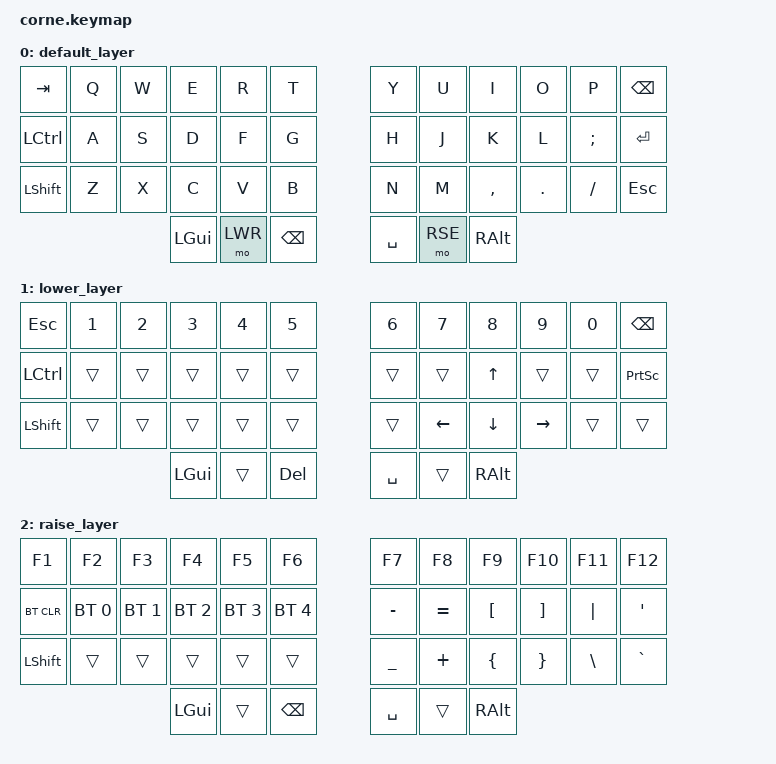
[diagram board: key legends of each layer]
/*
 * Copyright (c) 2020 The ZMK Contributors
 *
 * SPDX-License-Identifier: MIT
 */

#include <behaviors.dtsi>
#include <dt-bindings/zmk/keys.h>
#include <dt-bindings/zmk/bt.h>

#define DEF 0
#define LWR 1
#define RSE 2

/ {
        keymap {
                compatible = "zmk,keymap";

                default_layer {
// -----------------------------------------------------------------------------------------
// |  TAB |  Q  |  W  |  E  |  R  |  T  |   |  Y  |  U   |  I  |  O  |  P  | BKSP |
// | CTRL |  A  |  S  |  D  |  F  |  G  |   |  H  |  J   |  K  |  L  |  ;  |  '   |
// | SHFT |  Z  |  X  |  C  |  V  |  B  |   |  N  |  M   |  ,  |  .  |  /  | ESC  |
//                    | GUI | LWR | SPC |   | ENT | RSE  | ALT |
                        bindings = <
   &kp TAB    &kp Q  &kp W  &kp E     &kp R    &kp T        &kp Y      &kp U    &kp I      &kp O   &kp  P     &kp BSPC
   &kp LCTRL  &kp A  &kp S  &kp D     &kp F    &kp G        &kp H      &kp J    &kp K      &kp L   &kp  SEMI  &kp RET
   &kp LSHFT  &kp Z  &kp X  &kp C     &kp V    &kp B        &kp N      &kp M    &kp COMMA  &kp DOT &kp  FSLH  &kp ESC
                            &kp LGUI  &mo LWR  &kp BSPC     &kp SPACE  &mo RSE  &kp RALT
                        >;
                };
                lower_layer {
// -----------------------------------------------------------------------------------------
// |  TAB |  1  |  2  |  3  |  4  |  5  |   |  6  |  7  |  8  |  9  |  0  | BKSP |
// | BTCLR| BT1 | BT2 | BT3 | BT4 | BT5 |   | LFT | DWN |  UP | RGT |     |      |
// | SHFT |     |     |     |     |     |   |     |     |     |     |     |      |
//                    | GUI |     | SPC |   | ENT |     | ALT |
                        bindings = <
   &kp ESC    &kp N1  &kp N2  &kp N3   &kp N4  &kp N5      &kp N6     &kp N7    &kp N8    &kp N9     &kp N0  &kp BSPC
   &kp LCTRL  &trans  &trans  &trans   &trans  &trans      &trans     &trans    &kp UP    &trans     &trans  &kp PRINTSCREEN
   &kp LSHFT  &trans  &trans  &trans   &trans  &trans      &trans     &kp LEFT  &kp DOWN  &kp RIGHT  &trans  &trans
                              &kp LGUI &trans  &kp DEL     &kp SPACE  &trans    &kp RALT
                        >;
                };

                raise_layer {
// -----------------------------------------------------------------------------------------
// |  TAB |  !  |  @  |  #  |  $  |  %  |   |  ^  |  &  |  *  |  (  |  )  | BKSP |
// | CTRL |     |     |     |     |     |   |  -  |  =  |  [  |  ]  |  \  |  `   |
// | SHFT |     |     |     |     |     |   |  _  |  +  |  {  |  }  | "|" |  ~   |
//                    | GUI |     | SPC |   | ENT |     | ALT |
                        bindings = <
   &kp F1      &kp F2        &kp F3        &kp F4        &kp F5        &kp F6             &kp F7     &kp F8     &kp F9    &kp F10   &kp F11   &kp F12
   &bt BT_CLR  &bt BT_SEL 0  &bt BT_SEL 1  &bt BT_SEL 2  &bt BT_SEL 3  &bt BT_SEL 4       &kp MINUS  &kp EQUAL  &kp LBKT  &kp RBKT  &kp PIPE  &kp SQT
   &kp LSHFT   &trans        &trans        &trans        &trans        &trans             &kp UNDER  &kp PLUS   &kp LBRC  &kp RBRC  &kp BSLH  &kp GRAVE
                                           &kp LGUI      &trans        &kp BSPC           &kp SPACE  &trans     &kp RALT
                        >;
                };
        };
};
